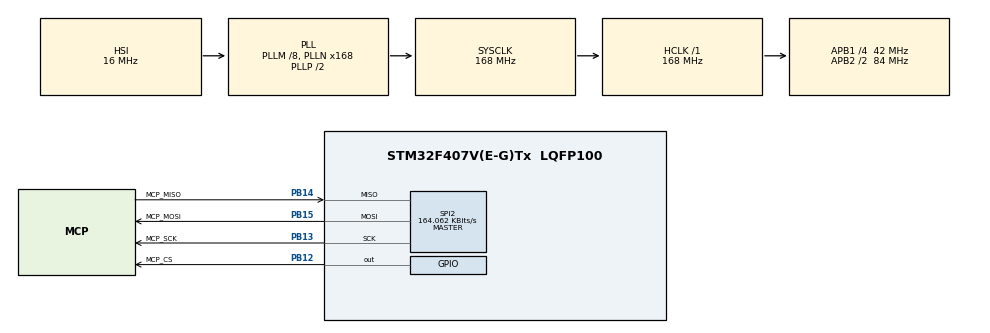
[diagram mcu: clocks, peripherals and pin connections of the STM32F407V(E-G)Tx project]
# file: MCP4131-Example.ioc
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Mcu.Family=STM32F4
Mcu.Name=STM32F407V(E-G)Tx
Mcu.Package=LQFP100
NVIC.PriorityGroup=NVIC_PRIORITYGROUP_4
PB12.GPIO_Label=MCP_CS
PB12.PinState=GPIO_PIN_SET
PB12.Signal=GPIO_Output
PB13.GPIO_Label=MCP_SCK
PB13.Mode=Full_Duplex_Master
PB13.Signal=SPI2_SCK
PB14.GPIO_Label=MCP_MISO
PB14.Mode=Full_Duplex_Master
PB14.Signal=SPI2_MISO
PB15.GPIO_Label=MCP_MOSI
PB15.Mode=Full_Duplex_Master
PB15.Signal=SPI2_MOSI
ProjectManager.HeapSize=0x200
ProjectManager.StackSize=0x400
ProjectManager.TargetToolchain=MDK-ARM V5.27
RCC.48MHZClocksFreq_Value=84000000
RCC.AHBFreq_Value=168000000
RCC.APB1CLKDivider=RCC_HCLK_DIV4
RCC.APB1Freq_Value=42000000
RCC.APB1TimFreq_Value=84000000
RCC.APB2CLKDivider=RCC_HCLK_DIV2
RCC.APB2Freq_Value=84000000
RCC.APB2TimFreq_Value=168000000
RCC.CortexFreq_Value=168000000
RCC.HCLKFreq_Value=168000000
RCC.HSE_VALUE=25000000
RCC.HSI_VALUE=16000000
RCC.LSE_VALUE=32768
RCC.PLLM=8
RCC.PLLN=168
RCC.SYSCLKFreq_VALUE=168000000
RCC.SYSCLKSource=RCC_SYSCLKSOURCE_PLLCLK
RCC.VCOOutputFreq_Value=336000000
SPI2.BaudRatePrescaler=SPI_BAUDRATEPRESCALER_256
SPI2.CLKPhase=SPI_PHASE_1EDGE
SPI2.CLKPolarity=SPI_POLARITY_LOW
SPI2.CalculateBaudRate=164.062 KBits/s
SPI2.Direction=SPI_DIRECTION_2LINES
SPI2.Mode=SPI_MODE_MASTER
SPI2.VirtualType=VM_MASTER
board=custom

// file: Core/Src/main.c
/* USER CODE BEGIN Header */
/**
  ******************************************************************************
  * @file           : main.c
  * @brief          : Main program body
  ******************************************************************************
  * @attention
  *
  * <h2><center>&copy; Copyright (c) 2024 STMicroelectronics.
  * All rights reserved.</center></h2>
  *
  * This software component is licensed by ST under BSD 3-Clause license,
  * the "License"; You may not use this file except in compliance with the
  * License. You may obtain a copy of the License at:
  *                        opensource.org/licenses/BSD-3-Clause
  *
  ******************************************************************************
  */
/* USER CODE END Header */
#include "main.h"
#include "spi.h"
#include "gpio.h"

/* USER CODE BEGIN PTD */

typedef enum {
  MCP_Address_VolatileWiper0        = 0x00,
  MCP_Address_VolatileWiper1        = 0x01,
  MCP_Address_VolatileTCONRegister  = 0x04,
  MCP_Address_StatusRegister        = 0x05,
} MCP_Address;

typedef enum {
  // 16-Bit Frame
  MCP_Control_Write     = 0x00,
  MCP_Control_Read      = 0x03,
  // 8-Bit Frame
  MCP_Control_Increment = 0x01,
  MCP_Control_Decrement = 0x02,
} MCP_Control;

typedef enum {
  MCP_Wiper_0           = MCP_Address_VolatileWiper0,
  MCP_Wiper_1           = MCP_Address_VolatileWiper1,
} MCP_Wiper;

typedef union {
  uint8_t       Raw[2];
  uint16_t      Value;
  struct {
    uint16_t    Data      : 10;
    uint16_t    Control   : 2;
    uint16_t    Address   : 4;
  };
} MCP_Frame;

/* USER CODE END PTD */

/* USER CODE BEGIN PD */
#define MCP_HSPI                hspi2
/* USER CODE END PD */

void SystemClock_Config(void);
/* USER CODE BEGIN PFP */
void MCP_swapFrame(MCP_Frame* frame);
void MCP_send(MCP_Address addr, MCP_Control control, uint16_t data);
uint8_t MCP_read(MCP_Address addr);

void MCP_setWiper(MCP_Wiper wiper, uint16_t value);
void MCP_increment(MCP_Wiper wiper);
void MCP_decrement(MCP_Wiper wiper);

/* USER CODE END PFP */

int main(void)
{
  /* USER CODE BEGIN 1 */
  volatile uint16_t wiperValue = 0;
  uint8_t state = 0;
  /* USER CODE END 1 */

  /* MCU Configuration--------------------------------------------------------*/

  /* Reset of all peripherals, Initializes the Flash interface and the Systick. */
  HAL_Init();

  /* Configure the system clock */
  SystemClock_Config();

  /* Initialize all configured peripherals */
  MX_GPIO_Init();
  MX_SPI2_Init();

  /* Infinite loop */
  /* USER CODE BEGIN WHILE */
  MCP_setWiper(MCP_Wiper_0, wiperValue);
  while (1)
  {
    // With setWiper fucntion
    //MCP_setWiper(MCP_Wiper_0, wiperValue);

    // With Increment/Decrement
    if (state) {
      MCP_decrement(MCP_Wiper_0);
    }
    else {
      MCP_increment(MCP_Wiper_0);
    }

    // Change WiperValue
    wiperValue += state ? -1 : 1;
    if (wiperValue == 0 || wiperValue == 127) {
      state = !state;
    }

    // Check Read
    /*if (wiperValue % 5 == 0) {
      volatile uint8_t temp = MCP_read(MCP_Address_VolatileWiper0);
      if (temp == wiperValue) {
        __NOP();
      }
      else {
        __NOP();
      }
    }*/

    HAL_Delay(20);
    /* USER CODE END WHILE */

  }
}

void SystemClock_Config(void)
{
  RCC_OscInitTypeDef RCC_OscInitStruct = {0};
  RCC_ClkInitTypeDef RCC_ClkInitStruct = {0};

  /** Configure the main internal regulator output voltage
  */
  __HAL_RCC_PWR_CLK_ENABLE();
  __HAL_PWR_VOLTAGESCALING_CONFIG(PWR_REGULATOR_VOLTAGE_SCALE1);
  /** Initializes the RCC Oscillators according to the specified parameters
  * in the RCC_OscInitTypeDef structure.
  */
  RCC_OscInitStruct.OscillatorType = RCC_OSCILLATORTYPE_HSI;
  RCC_OscInitStruct.HSIState = RCC_HSI_ON;
  RCC_OscInitStruct.HSICalibrationValue = RCC_HSICALIBRATION_DEFAULT;
  RCC_OscInitStruct.PLL.PLLState = RCC_PLL_ON;
  RCC_OscInitStruct.PLL.PLLSource = RCC_PLLSOURCE_HSI;
  RCC_OscInitStruct.PLL.PLLM = 8;
  RCC_OscInitStruct.PLL.PLLN = 168;
  RCC_OscInitStruct.PLL.PLLP = RCC_PLLP_DIV2;
  RCC_OscInitStruct.PLL.PLLQ = 4;
  if (HAL_RCC_OscConfig(&RCC_OscInitStruct) != HAL_OK)
  {
    Error_Handler();
  }
  /** Initializes the CPU, AHB and APB buses clocks
  */
  RCC_ClkInitStruct.ClockType = RCC_CLOCKTYPE_HCLK|RCC_CLOCKTYPE_SYSCLK
                              |RCC_CLOCKTYPE_PCLK1|RCC_CLOCKTYPE_PCLK2;
  RCC_ClkInitStruct.SYSCLKSource = RCC_SYSCLKSOURCE_PLLCLK;
  RCC_ClkInitStruct.AHBCLKDivider = RCC_SYSCLK_DIV1;
  RCC_ClkInitStruct.APB1CLKDivider = RCC_HCLK_DIV4;
  RCC_ClkInitStruct.APB2CLKDivider = RCC_HCLK_DIV2;

  if (HAL_RCC_ClockConfig(&RCC_ClkInitStruct, FLASH_LATENCY_5) != HAL_OK)
  {
    Error_Handler();
  }
}

/* USER CODE BEGIN 4 */
void MCP_send(MCP_Address addr, MCP_Control control, uint16_t data) {
  MCP_Frame frame;
  // CS -> LOW
  HAL_GPIO_WritePin(MCP_CS_GPIO_Port, MCP_CS_Pin, GPIO_PIN_RESET);
  // Init frame
  frame.Address = addr,
  frame.Control = control;
  frame.Data = data;
  // Send Frame
  if (control == MCP_Control_Read || control == MCP_Control_Write) {
    // 16-Bit Frame
    MCP_swapFrame(&frame);
    HAL_SPI_Transmit(&MCP_HSPI, (uint8_t*) &frame, 2, 1000);
  }
  else {
    // 8-Bit Frame
    HAL_SPI_Transmit(&MCP_HSPI, (uint8_t*) &frame.Raw[1], 1, 1000);
  }
  // CS -> HIGH
  HAL_GPIO_WritePin(MCP_CS_GPIO_Port, MCP_CS_Pin, GPIO_PIN_SET);
}

uint8_t MCP_read(MCP_Address addr) {
  MCP_Frame frame;
  // CS -> LOW
  HAL_GPIO_WritePin(MCP_CS_GPIO_Port, MCP_CS_Pin, GPIO_PIN_RESET);
  // Init frame
  frame.Address = addr,
  frame.Control = MCP_Control_Read;
  frame.Data = 0x3FF;
  // Send Address
  HAL_SPI_Transmit(&MCP_HSPI, (uint8_t*) &frame.Raw[1], 1, 1000);
  // Read Data
  HAL_SPI_Receive(&MCP_HSPI, (uint8_t*) &frame.Raw[0], 1, 1000);
  // CS -> HIGH
  HAL_GPIO_WritePin(MCP_CS_GPIO_Port, MCP_CS_Pin, GPIO_PIN_SET);

  return frame.Raw[0];
}

void MCP_swapFrame(MCP_Frame* frame) {
  /*uint8_t temp;
  temp = frame->Raw[0];
  frame->Raw[0] = frame->Raw[1];
  frame->Raw[1] = temp;*/
  frame->Value = (frame->Value << 8) | (frame->Value >> 8);
}

void MCP_setWiper(MCP_Wiper wiper, uint16_t value) {
  MCP_send((MCP_Address) wiper, MCP_Control_Write, value);
}

void MCP_increment(MCP_Wiper wiper) {
  MCP_send((MCP_Address) wiper, MCP_Control_Increment, 0);
}
void MCP_decrement(MCP_Wiper wiper) {
  MCP_send((MCP_Address) wiper, MCP_Control_Decrement, 0);
}

/* USER CODE END 4 */

void Error_Handler(void)
{
  __disable_irq();
  while (1)
  {
  }
}

/************************ (C) COPYRIGHT STMicroelectronics *****END OF FILE****/
